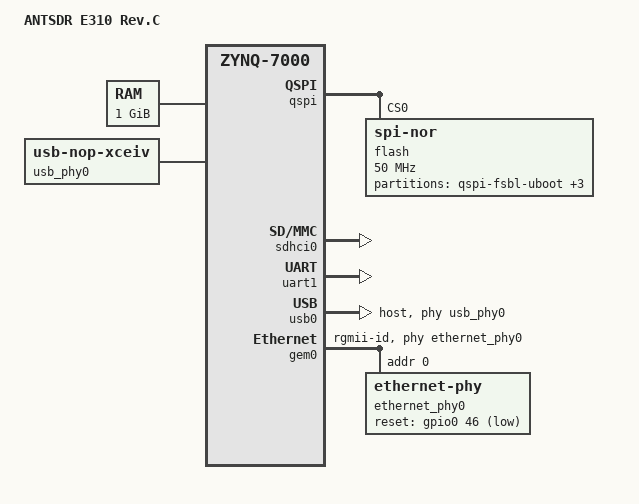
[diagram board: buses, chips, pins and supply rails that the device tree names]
// SPDX-License-Identifier: GPL-2.0-or-later
/*
 * ANTSDR E310 Rev.C U-Boot device tree.
 *
 * Copyright (C) 2026 Cyfrit <i@cli.tf>
 */

/dts-v1/;
#include "zynq-7000.dtsi"
#include <dt-bindings/gpio/gpio.h>
#include "antsdr-os-release-key.dtsi"

/ {
	model = "ANTSDR E310 Rev.C";
	compatible = "microphase,antsdr-e310-revc", "microphase,antsdr-e310",
		     "xlnx,zynq-7000";

	aliases {
		ethernet0 = &gem0;
		mmc0 = &sdhci0;
		serial0 = &uart1;
		spi0 = &qspi;
	};

	memory {
		device_type = "memory";
		reg = <0x0 0x40000000>;
	};

	chosen {
		bootargs = "earlyprintk";
		linux,stdout-path = &uart1;
		stdout-path = "serial0:115200n8";
	};

	usb_phy0: phy0 {
		compatible = "usb-nop-xceiv";
		#phy-cells = <0>;
	};
};

&qspi {
	u-boot,dm-pre-reloc;
	status = "okay";
	is-dual = <0>;
	num-cs = <1>;

	flash@0 {
		compatible = "jedec,spi-nor", "spi-flash";
		reg = <0>;
		spi-max-frequency = <50000000>;
		spi-tx-bus-width = <1>;
		spi-rx-bus-width = <4>;
		#address-cells = <1>;
		#size-cells = <1>;

		partitions {
			compatible = "fixed-partitions";
			#address-cells = <1>;
			#size-cells = <1>;

			partition@0 {
				label = "qspi-fsbl-uboot";
				reg = <0x000000 0x400000>;
			};

			partition@400000 {
				label = "qspi-uboot-env";
				reg = <0x400000 0x020000>;
			};

			partition@420000 {
				label = "qspi-nvmfs";
				reg = <0x420000 0x0e0000>;
			};

			partition@500000 {
				label = "qspi-linux";
				reg = <0x500000 0x1b00000>;
			};
		};
	};
};

&sdhci0 {
	u-boot,dm-pre-reloc;
	status = "okay";
};

&uart1 {
	u-boot,dm-pre-reloc;
	status = "okay";
};

&usb0 {
	status = "okay";
	dr_mode = "host";
	usb-phy = <&usb_phy0>;
};

&gem0 {
	status = "okay";
	phy-mode = "rgmii-id";
	phy-handle = <&ethernet_phy0>;

	ethernet_phy0: ethernet-phy@0 {
		reg = <0>;
		reset-gpios = <&gpio0 46 GPIO_ACTIVE_LOW>;
	};
};
